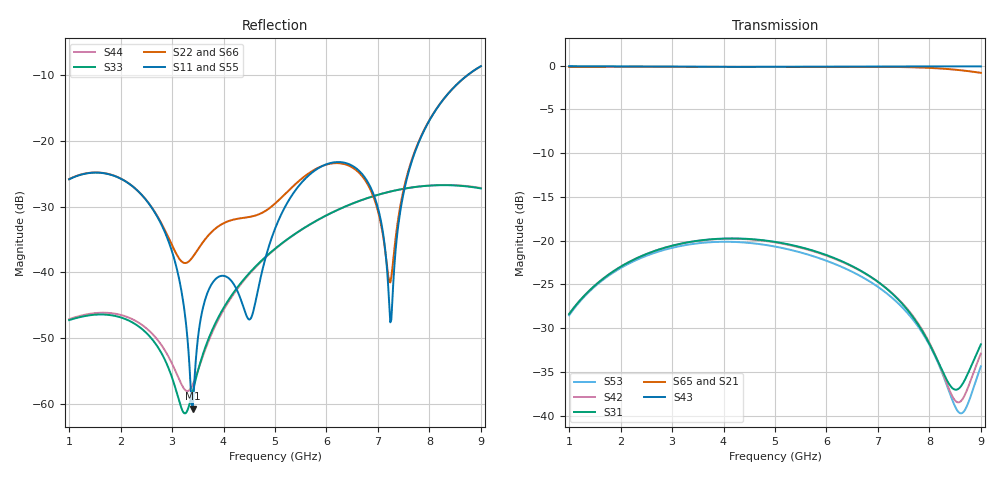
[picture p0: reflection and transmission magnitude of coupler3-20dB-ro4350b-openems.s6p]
! openEMS result for the plain 3-line 20 dB coupler on JLC RO4350B 0.508 mm (#41, #61: square outer turns; edge cell 0.1 mm: --fine 0.1, the default 0.2 mm is not converged)
# Hz S RI R 50
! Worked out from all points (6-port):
!   401 points, 1 GHz to 9 GHz, reference 50 ohm
!   strongest paths, dB at 1 GHz, 3 GHz, 5 GHz, 7 GHz, 9 GHz:
!     S43: -0.1, -0.1, -0.1, -0.1, -0.1
!     S65: -0.1, -0.1, -0.1, -0.1, -0.8
!     S21: -0.1, -0.1, -0.1, -0.1, -0.8
!     S31: -28.4, -20.6, -20.1, -24.7, -31.8
!     S42: -28.4, -20.6, -20.2, -24.7, -32.9
!     S53: -28.5, -20.8, -20.7, -25.3, -34.3
!   lowest |S11| = -60.7 dB at 3.4 GHz (marker M1), VSWR 1.00, Z = 50.1 - j0.0631 ohm
!   |S11| at or under -10 dB: start of sweep to 8.747 GHz
